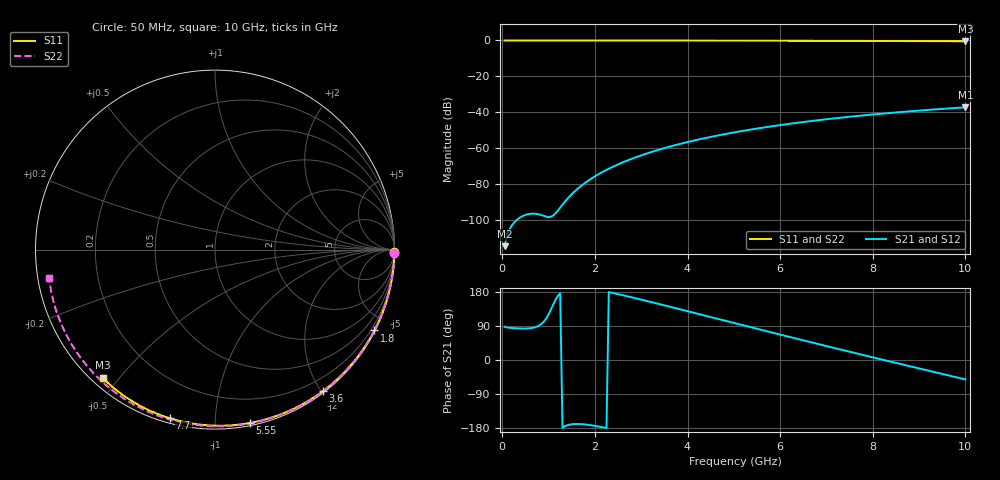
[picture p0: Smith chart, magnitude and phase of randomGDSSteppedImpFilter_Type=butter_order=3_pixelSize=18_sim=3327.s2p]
! freq	dB(S11)	phase(S11)	dB(S12)	phase(S12)
!  dB(S21)	phase(S21)	dB(S22)	phase(S22)
!S-par simulation data
#  GHz  S  DB  R 50
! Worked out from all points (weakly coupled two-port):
!   200 points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, 50 MHz to 10 GHz, reference 50 ohm
!   highest |S21| = -37.30 dB at 10 GHz (marker M1); lowest = -114.7 dB at 50 MHz (marker M2)
!   lowest |S11| = -0.4 dB at 10 GHz (marker M3), VSWR 39.11, Z = 1.54 - j22.6 ohm
!   |S11| at or under -10 dB: nowhere
!   |S22| runs from -0.6 to 0.0 dB; largest |S21 - S12| = 0
!   S11 on the Smith chart (normalised r, x): 50 MHz: open; 1.8 GHz: 0.04, -4.18; 3.6 GHz: 0.02, -2.02; 5.55 GHz: 0.02, -1.22; 7.7 GHz: 0.02, -0.77; 10 GHz: 0.03, -0.45
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0.05  -0.00 -0.8  -114.75 87.5  -114.75 87.5  -0.00 -1.0
0.45  -0.01 -6.8  -97.82 83.0  -97.82 83.0  -0.01 -9.0
0.85  -0.02 -12.8  -97.43 95.6  -97.43 95.6  -0.02 -16.9
1.3  -0.02 -19.5  -91.58 -178.5  -91.58 -178.5  -0.03 -25.6
1.75  -0.03 -26.2  -80.15 -169.6  -80.15 -169.6  -0.04 -34.3
1.8  -0.03 -26.9  -79.20 -170.2  -79.20 -170.2  -0.04 -35.2
1.95  -0.04 -29.1  -76.59 -172.8  -76.59 -172.8  -0.05 -38.1
2.1  -0.04 -31.3  -74.27 -176.0  -74.27 -176.0  -0.05 -40.9
2.3  -0.04 -34.2  -71.54 179.2  -71.54 179.2  -0.06 -44.7
2.5  -0.05 -37.1  -69.13 173.8  -69.13 173.8  -0.06 -48.4
2.9  -0.06 -42.8  -65.00 162.3  -65.00 162.3  -0.07 -55.8
3.4  -0.07 -49.8  -60.79 147.3  -60.79 147.3  -0.09 -64.8
3.6  -0.07 -52.6  -59.32 141.2  -59.32 141.2  -0.09 -68.4
4.3  -0.09 -62.2  -54.90 119.5  -54.90 119.5  -0.11 -80.5
5.05  -0.11 -72.1  -51.08 96.3  -51.08 96.3  -0.14 -93.1
5.55  -0.13 -78.6  -48.93 80.9  -48.93 80.9  -0.17 -101.3
6.1  -0.15 -85.5  -46.85 64.0  -46.85 64.0  -0.20 -110.0
6.7  -0.18 -92.9  -44.85 45.8  -44.85 45.8  -0.23 -119.4
7.7  -0.24 -104.9  -42.04 15.9  -42.04 15.9  -0.31 -134.8
8.35  -0.29 -112.5  -40.48 -3.3  -40.48 -3.3  -0.37 -144.7
9.2  -0.36 -122.2  -38.72 -28.0  -38.72 -28.0  -0.46 -157.8
10  -0.44 -131.2  -37.30 -51.2  -37.30 -51.2  -0.56 -170.3
